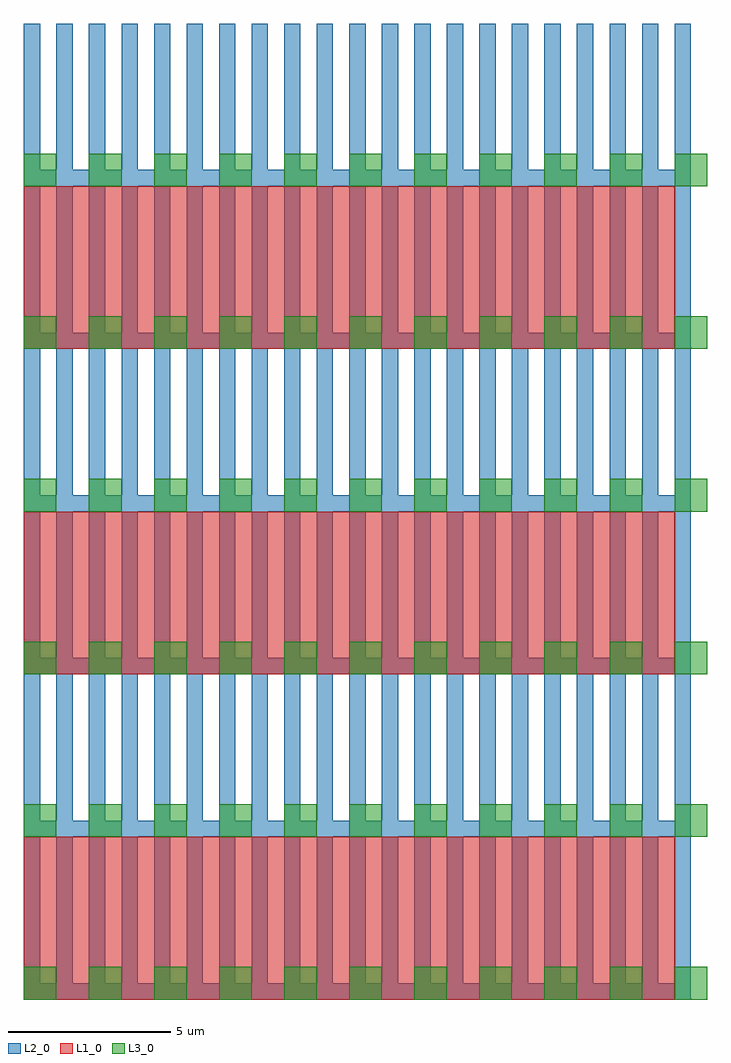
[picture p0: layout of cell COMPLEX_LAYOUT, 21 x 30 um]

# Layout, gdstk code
import gdstk
lib = gdstk.Library(unit=1e-6, precision=1e-09)
def R(c, l, rs):  # rectangles x0, y0, x1, y1
    for r in rs: c.add(gdstk.rectangle(r[:2], r[2:], *l))
def A(c, l, x, y, w, h, nx, ny, dx, dy):  # array of equal rectangles
    R(c, l, [(x+i*dx, y+j*dy, x+i*dx+w, y+j*dy+h) for i in range(nx) for j in range(ny)])
L1_0 = (1, 0)
L2_0 = (2, 0)
L3_0 = (3, 0)

complex_layout = lib.new_cell('COMPLEX_LAYOUT')
A(complex_layout, L1_0, 0, 0, 20, 5, 1, 3, 0, 10)
A(complex_layout, L2_0, 0, 0, 0.5, 30, 21, 1, 1, 0)
A(complex_layout, L2_0, 0, 0, 20, 0.5, 1, 6, 0, 5)
A(complex_layout, L3_0, 0, 0, 1, 1, 11, 6, 2, 5)

lib.write_gds('COMPLEX_LAYOUT.gds')
